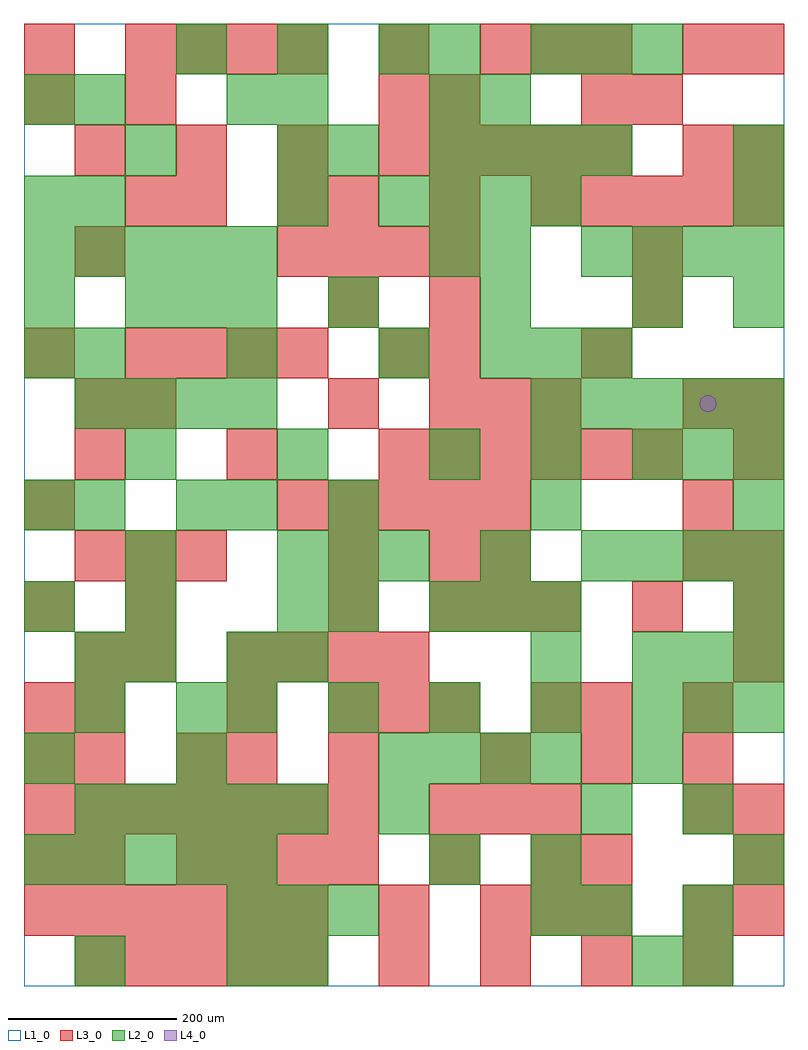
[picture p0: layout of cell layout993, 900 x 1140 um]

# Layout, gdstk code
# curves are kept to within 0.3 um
import gdstk
lib = gdstk.Library(unit=1e-6, precision=1e-09)
def R(c, l, rs):  # rectangles x0, y0, x1, y1
    for r in rs: c.add(gdstk.rectangle(r[:2], r[2:], *l))
def A(c, l, x, y, w, h, nx, ny, dx, dy):  # array of equal rectangles
    R(c, l, [(x+i*dx, y+j*dy, x+i*dx+w, y+j*dy+h) for i in range(nx) for j in range(ny)])
def P(c, l, *ps):  # polygons
    for p in ps: c.add(gdstk.Polygon(p, *l))
L1_0 = (1, 0)
L2_0 = (2, 0)
L3_0 = (3, 0)
L4_0 = (4, 0)

layout993 = lib.new_cell('layout993')
R(layout993, L1_0, [(0,0,900,1140)])
A(layout993, L2_0, 240, 60, 60, 60, 3, 1, 60, 0)
A(layout993, L2_0, 780, 60, 60, 60, 1, 3, 0, 120)
A(layout993, L2_0, 0, 120, 60, 60, 5, 2, 60, 720)
A(layout993, L2_0, 600, 120, 60, 60, 1, 3, 0, 240)
A(layout993, L2_0, 60, 180, 60, 60, 5, 1, 60, 0)
A(layout993, L2_0, 420, 240, 60, 60, 4, 2, 60, 660)
A(layout993, L2_0, 240, 300, 60, 60, 5, 1, 120, 0)
A(layout993, L2_0, 120, 360, 60, 60, 1, 3, 0, 60)
A(layout993, L2_0, 720, 360, 60, 60, 3, 2, 60, 240)
A(layout993, L2_0, 480, 420, 60, 60, 3, 1, 60, 0)
A(layout993, L2_0, 300, 480, 60, 60, 3, 1, 60, 0)
A(layout993, L2_0, 660, 480, 60, 60, 4, 2, 60, 360)
A(layout993, L2_0, 360, 540, 60, 60, 3, 1, 240, 0)
A(layout993, L2_0, 120, 600, 60, 60, 3, 1, 180, 0)
A(layout993, L2_0, 60, 660, 60, 60, 4, 1, 60, 0)
A(layout993, L2_0, 600, 660, 60, 60, 5, 1, 60, 0)
A(layout993, L2_0, 60, 720, 60, 60, 3, 1, 180, 0)
A(layout993, L2_0, 540, 720, 60, 60, 3, 1, 60, 0)
A(layout993, L2_0, 0, 780, 60, 60, 1, 3, 0, 120)
A(layout993, L2_0, 120, 780, 60, 60, 3, 1, 60, 0)
A(layout993, L2_0, 360, 780, 60, 60, 3, 1, 180, 0)
A(layout993, L2_0, 300, 900, 60, 60, 1, 3, 0, 60)
A(layout993, L2_0, 480, 960, 60, 60, 4, 1, 60, 0)
A(layout993, L2_0, 180, 1080, 60, 60, 3, 1, 120, 0)
A(layout993, L2_0, 600, 1080, 60, 60, 3, 1, 60, 0)
R(layout993, L2_0, [(60,0,120,60), (240,0,300,60), (300,0,360,60), (720,0,780,60), (780,0,840,60), (600,60,660,120), (660,60,720,120), (480,120,540,180), (840,120,900,180), (420,180,480,240), (660,180,720,240), (0,240,60,300), (180,240,240,300), (720,240,780,300), (60,300,120,360), (180,300,240,360), (840,300,900,360), (60,360,120,420), (240,360,300,420), (300,360,360,420), (0,420,60,480), (300,420,360,480), (360,420,420,480), (840,420,900,480), (540,480,600,540), (0,540,60,600), (60,540,120,600), (180,540,240,600), (240,540,300,600), (0,720,60,780), (840,780,900,840), (480,840,540,900), (540,840,600,900), (60,900,120,960), (840,900,900,960), (120,960,180,1020), (360,960,420,1020), (840,960,900,1020), (60,1020,120,1080), (240,1020,300,1080), (480,1020,540,1080), (540,1020,600,1080), (480,1080,540,1140)])
A(layout993, L3_0, 60, 0, 60, 60, 5, 1, 60, 0)
A(layout993, L3_0, 420, 0, 60, 60, 4, 1, 120, 0)
A(layout993, L3_0, 0, 60, 60, 60, 6, 1, 60, 0)
A(layout993, L3_0, 540, 60, 60, 60, 3, 2, 60, 1020)
A(layout993, L3_0, 780, 60, 60, 60, 1, 3, 0, 120)
A(layout993, L3_0, 840, 60, 60, 60, 1, 3, 0, 60)
A(layout993, L3_0, 180, 120, 60, 60, 4, 1, 60, 0)
A(layout993, L3_0, 0, 180, 60, 60, 7, 1, 60, 0)
A(layout993, L3_0, 480, 180, 60, 60, 3, 3, 60, 240)
A(layout993, L3_0, 60, 240, 60, 60, 1, 3, 0, 60)
A(layout993, L3_0, 540, 240, 60, 60, 3, 1, 120, 0)
A(layout993, L3_0, 0, 300, 60, 60, 1, 3, 0, 120)
A(layout993, L3_0, 360, 300, 60, 60, 3, 1, 60, 0)
A(layout993, L3_0, 240, 360, 60, 60, 4, 1, 60, 0)
A(layout993, L3_0, 840, 360, 60, 60, 1, 3, 0, 60)
A(layout993, L3_0, 120, 420, 60, 60, 1, 3, 0, 240)
A(layout993, L3_0, 60, 480, 60, 60, 3, 1, 60, 0)
A(layout993, L3_0, 300, 540, 60, 60, 5, 1, 60, 0)
A(layout993, L3_0, 60, 600, 60, 60, 3, 1, 180, 0)
A(layout993, L3_0, 480, 600, 60, 60, 5, 1, 60, 0)
A(layout993, L3_0, 120, 720, 60, 60, 4, 2, 60, 360)
A(layout993, L3_0, 300, 840, 60, 60, 4, 1, 60, 0)
A(layout993, L3_0, 360, 900, 60, 60, 3, 1, 120, 0)
A(layout993, L3_0, 660, 900, 60, 60, 4, 1, 60, 0)
A(layout993, L3_0, 60, 960, 60, 60, 4, 1, 120, 0)
A(layout993, L3_0, 480, 960, 60, 60, 4, 1, 60, 0)
R(layout993, L3_0, [(420,60,480,120), (0,120,60,180), (60,120,120,180), (480,120,540,180), (600,120,660,180), (660,120,720,180), (0,240,60,300), (180,240,240,300), (240,240,300,300), (360,240,420,300), (240,300,300,360), (600,300,660,360), (660,300,720,360), (120,360,180,420), (360,420,420,480), (720,420,780,480), (360,480,420,540), (480,480,540,540), (540,480,600,540), (780,480,840,540), (780,540,840,600), (840,600,900,660), (60,660,120,720), (360,660,420,720), (780,660,840,720), (840,660,900,720), (0,720,60,780), (420,720,480,780), (480,720,540,780), (660,720,720,780), (360,780,420,840), (480,780,540,840), (720,780,780,840), (60,840,120,900), (720,840,780,900), (180,900,240,960), (300,900,360,960), (780,960,840,1020), (840,960,900,1020), (0,1020,60,1080), (120,1020,180,1080), (420,1020,480,1080), (480,1020,540,1080), (660,1020,720,1080), (720,1020,780,1080), (0,1080,60,1140), (420,1080,480,1140), (780,1080,840,1140), (840,1080,900,1140)])
P(layout993, L4_0, [(820,690),(819.239,693.827),(817.071,697.071),(813.827,699.239),(810,700),(806.173,699.239),(802.929,697.071),(800.761,693.827),(800,690),(800.761,686.173),(802.929,682.929),(806.173,680.761),(810,680),(813.827,680.761),(817.071,682.929),(819.239,686.173)])

lib.write_gds('layout993.gds')
